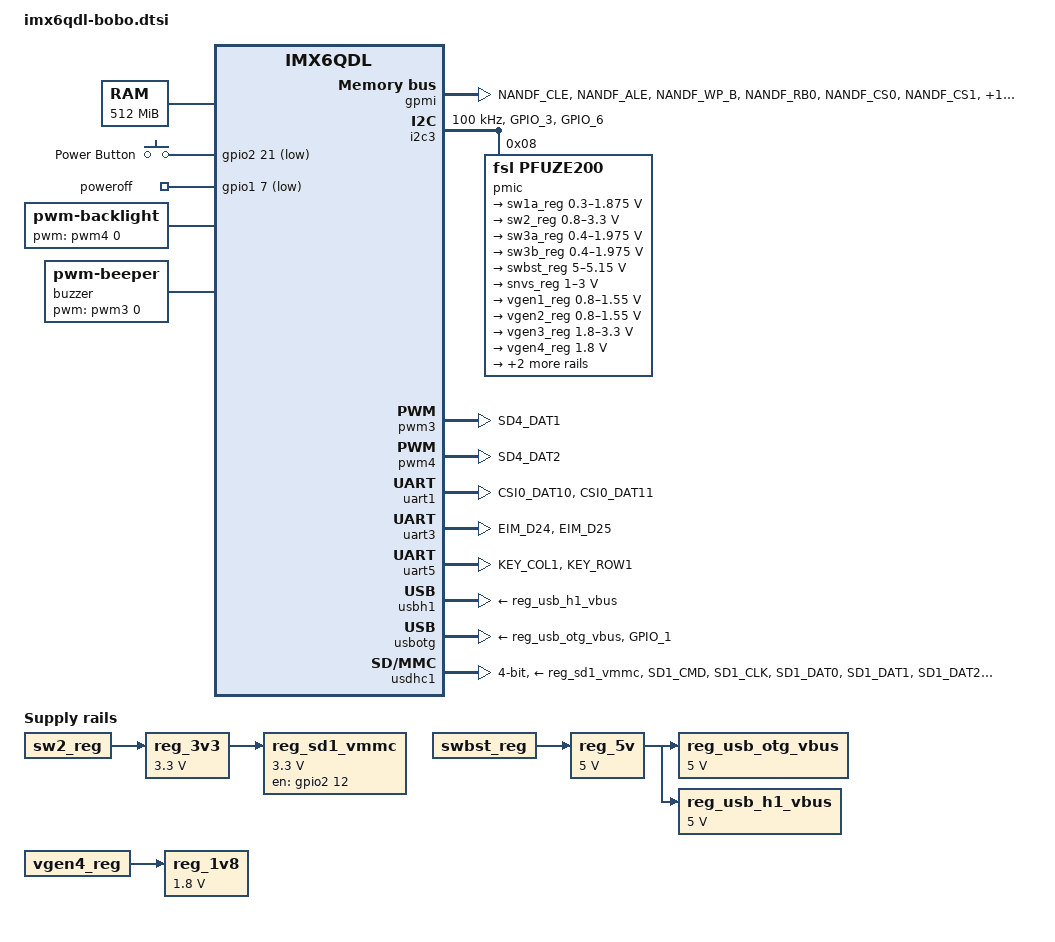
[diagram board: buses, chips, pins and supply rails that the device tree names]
/*

 * Copyright 2012 Freescale Semiconductor, Inc.
 * Copyright 2011 Linaro Ltd.
 *
 * The code contained herein is licensed under the GNU General Public
 * License. You may obtain a copy of the GNU General Public License
 * Version 2 or later at the following locations:
 *
 * http://www.opensource.org/licenses/gpl-license.html
 * http://www.gnu.org/copyleft/gpl.html
 */

#include <dt-bindings/gpio/gpio.h>
#include <dt-bindings/input/input.h>

/ {
	aliases {
		mxcfb0 = &mxcfb1;
		nand = &gpmi;
		serial0 = &uart1;
		serial1 = &uart3;
		serial2 = &uart5;
	};

	chosen {
		stdout-path = "serial2:115200n8";
	};

	memory {
		reg = <0x10000000 0x20000000>;
	};

	reserved-memory {
		#address-cells = <1>;
		#size-cells = <1>;
		ranges;

		linux,cma {
			compatible = "shared-dma-pool";
			reusable;
			size = <0x10000000>;
			linux,cma-default;
		};
	};

	regulators {
		compatible = "simple-bus";
		#address-cells = <1>;
		#size-cells = <0>;

		reg_3v3: regulator@0 {
			compatible = "regulator-fixed";
			reg = <0>;
			regulator-name = "pwr3v3";
			regulator-min-microvolt = <3300000>;
			regulator-max-microvolt = <3300000>;
			vin-supply = <&sw2_reg>;
			regulator-always-on;
		};

		reg_5v: regualtor@1 {
			compatible = "regulator-fixed";
			reg = <1>;
			regulator-name = "pwr5v";
			regulator-min-microvolt = <5000000>;
			regulator-max-microvolt = <5000000>;
			vin-supply = <&swbst_reg>;
			regulator-always-on;
		};

		reg_1v8: regulator@2 {
			compatible = "regulator-fixed";
			reg = <2>;
			regulator-name = "pwr1v8";
			regulator-min-microvolt = <1800000>;
			regulator-max-microvolt = <1800000>;
			vin-supply = <&vgen4_reg>;
			regulator-always-on;
		};

		reg_sd1_vmmc: regulator@3 {
			compatible = "regulator-fixed";
			reg = <3>;
			regulator-name = "SD1_PWR";
			regulator-min-microvolt = <3300000>;
			regulator-max-microvolt = <3300000>;
			gpio = <&gpio2 12 GPIO_ACTIVE_HIGH>;
			enable-active-high;
			vin-supply = <&reg_3v3>;
		};

		reg_usb_otg_vbus: usbotg_vbus {
			compatible = "regulator-fixed";
			reg = <4>;
			regulator-name = "usb_otg_vbus";
			regulator-min-microvolt = <5000000>;
			regulator-max-microvolt = <5000000>;
			vin-supply = <&reg_5v>;
		};

		reg_usb_h1_vbus: usbh1_vbus {
			compatible = "regulator-fixed";
			reg = <5>;
			regulator-name = "usb_h1_vbus";
			regulator-min-microvolt = <5000000>;
			regulator-max-microvolt = <5000000>;
			vin-supply = <&reg_5v>;
		};



	};


	gpio-keys {
		compatible = "gpio-keys";
		pinctrl-names = "default";
		pinctrl-0 = <&pinctrl_gpio_keys>;
		/* PWR_KEY_SENSE */
		power {
			label = "Power Button";
			gpios = <&gpio2 21 GPIO_ACTIVE_LOW>;/* MX6QDL_PAD_EIM_A17__GPIO2_IO21 */
			gpio-key,wakeup;
			linux,code = <KEY_POWER>;
			debounce-interval = <1000>; /* long press 1000 millisecond */
		};
	};

	mxcfb1: fb@0 {
		compatible = "fsl,mxc_sdc_fb";
		disp_dev = "lcd";
		mode_str = "CTP-WVGA";
		interface_pix_fmt = "RGB666";
		default_bpp = <16>;
		int_clk = <0>;
		late_init = <0>;
		status = "disabled";
	};

	lcd: lcd@0 {
		compatible = "fsl,lcd";
		ipu_id = <0>;
		disp_id = <0>;
		default_ifmt = "RGB666";
		pinctrl-names = "default";
		pinctrl-0 = <&pinctrl_disp>;
		status = "disabled";
	};

	poweroff {
		compatible = "gpio-poweroff";
		gpios = <&gpio1 7 GPIO_ACTIVE_LOW>;
	};

	backlight {
		compatible = "pwm-backlight";
		pwms = <&pwm4 0 300000>;
		brightness-levels = <
			 0  1  2  3  4  5  6  7  8  9 
			 10 11 12 13 14 15 16 17 18 19 
			 20 21 22 23 24 25 26 27 28 29 
			 30 31 32 33 24 35 36 37 38 39 
			 40 41 42 43 44 45 46 47 48 49
			 50 51 52 53 54 55 56 57 58 59
			 60 61 62 63 64 65 66 67 68 69 
			 70 71 72 73 74 75 76 77 78 79
			 80 81 82 83 84 85 86 87 88 89 
			 90 91 92 93 94 95 96 97 98 99 
			 100 >;
		default-brightness-level = <34>;
		status = "okay";
	};

	buzzer {
		compatible = "pwm-beeper";
		pwms = <&pwm3 0 10000>;
		status = "okay";
	};
};

&gpc {
	fsl,ldo-bypass = <0>; /* to disable ldo pass mode, u-boot will check it */
};

&gpmi {
	pinctrl-names = "default";
	pinctrl-0 = <&pinctrl_gpmi_nand>;
	status = "okay";
};

&i2c3 {
	clock-frequency = <100000>;
	pinctrl-names = "default";
	pinctrl-0 = <&pinctrl_i2c3>;
	status = "okay";

	pmic: pfuze100@08 {
		compatible = "fsl,pfuze200";
		reg = <0x08>;

		regulators {
			sw1a_reg: sw1ab { /* for cpu */
				regulator-min-microvolt = <300000>;
				regulator-max-microvolt = <1875000>;
				regulator-boot-on;
				regulator-always-on;
				regulator-ramp-delay = <6250>;
			};

			sw2_reg: sw2 { /* for peripherals */
				regulator-min-microvolt = <800000>;
				regulator-max-microvolt = <3300000>;
				regulator-boot-on;
			};

			sw3a_reg: sw3a { /* DDR3 */
				regulator-min-microvolt = <400000>;
				regulator-max-microvolt = <1975000>;
				regulator-boot-on;
				regulator-always-on;
			};

			sw3b_reg: sw3b { /* DDR3 */
				regulator-min-microvolt = <400000>;
				regulator-max-microvolt = <1975000>;
				regulator-boot-on;
				regulator-always-on;
			};

			swbst_reg: swbst { /* GPS, LCD, USB */
				regulator-min-microvolt = <5000000>;
				regulator-max-microvolt = <5150000>;
				regulator-boot-on;
			};

			snvs_reg: vsnvs {
				regulator-min-microvolt = <1000000>;
				regulator-max-microvolt = <3000000>;
				regulator-boot-on;
				regulator-always-on;
			};

			vref_reg: vrefddr {
				regulator-boot-on;
				regulator-always-on;
			};

			vgen1_reg: vgen1 {
				regulator-min-microvolt = <800000>;
				regulator-max-microvolt = <1550000>;
				regulator-boot-on;
			};

			vgen2_reg: vgen2 {
				regulator-min-microvolt = <800000>;
				regulator-max-microvolt = <1550000>;
				regulator-boot-on;
			};

			vgen3_reg: vgen3 {
				regulator-min-microvolt = <1800000>;
				regulator-max-microvolt = <3300000>;
				regulator-boot-on;
			};

			vgen4_reg: vgen4 { /* for WIFI */
				regulator-min-microvolt = <1800000>;
				regulator-max-microvolt = <1800000>;
				regulator-boot-on;
			};

			vgen5_reg: vgen5 {
				regulator-min-microvolt = <1800000>;
				regulator-max-microvolt = <2800000>;
				regulator-boot-on;
			};

			vgen6_reg: vgen6 {
				regulator-min-microvolt = <1800000>;
				regulator-max-microvolt = <3300000>;
				regulator-boot-on;
			};
		};
	};
};


&iomuxc {
	pinctrl-names = "default";
	pinctrl-0 = <&pinctrl_hog>;

	imx6qdl-bobo {
		pinctrl_hog: hoggrp {
			fsl,pins = <
				MX6QDL_PAD_GPIO_0__CCM_CLKO1		0x130b0
				MX6QDL_PAD_EIM_A20__GPIO2_IO18          0x80000000
				MX6QDL_PAD_GPIO_7__GPIO1_IO07           0x0000b /* PWR_HOLD_ON */
			>;
		};

		/* GPMI NAND */	     
		pinctrl_gpmi_nand: gpminandgrp {
			fsl,pins = <
				MX6QDL_PAD_NANDF_CLE__NAND_CLE		0xb0b1
				MX6QDL_PAD_NANDF_ALE__NAND_ALE		0xb0b1
				MX6QDL_PAD_NANDF_WP_B__NAND_WP_B	0xb0b1
				MX6QDL_PAD_NANDF_RB0__NAND_READY_B	0xb000
				MX6QDL_PAD_NANDF_CS0__NAND_CE0_B	0xb0b1
				MX6QDL_PAD_NANDF_CS1__NAND_CE1_B	0xb0b1
				MX6QDL_PAD_SD4_CMD__NAND_RE_B		0xb0b1
				MX6QDL_PAD_SD4_CLK__NAND_WE_B		0xb0b1
				MX6QDL_PAD_NANDF_D0__NAND_DATA00	0xb0b1
				MX6QDL_PAD_NANDF_D1__NAND_DATA01	0xb0b1
				MX6QDL_PAD_NANDF_D2__NAND_DATA02	0xb0b1
				MX6QDL_PAD_NANDF_D3__NAND_DATA03	0xb0b1
				MX6QDL_PAD_NANDF_D4__NAND_DATA04	0xb0b1
				MX6QDL_PAD_NANDF_D5__NAND_DATA05	0xb0b1
				MX6QDL_PAD_NANDF_D6__NAND_DATA06	0xb0b1
				MX6QDL_PAD_NANDF_D7__NAND_DATA07	0xb0b1
			>;
		};

		/* for LCD */
		pinctrl_disp: disp0-grp {
			fsl,pins = <
				MX6QDL_PAD_DI0_DISP_CLK__IPU1_DI0_DISP_CLK 0x10
				MX6QDL_PAD_DI0_PIN15__IPU1_DI0_PIN15       0x10
				MX6QDL_PAD_DI0_PIN2__IPU1_DI0_PIN02        0x10
				MX6QDL_PAD_DI0_PIN3__IPU1_DI0_PIN03        0x10
				MX6QDL_PAD_DI0_PIN4__IPU1_DI0_PIN04        0x10
				MX6QDL_PAD_DISP0_DAT0__IPU1_DISP0_DATA00   0x10
				MX6QDL_PAD_DISP0_DAT1__IPU1_DISP0_DATA01   0x10
				MX6QDL_PAD_DISP0_DAT2__IPU1_DISP0_DATA02   0x10
				MX6QDL_PAD_DISP0_DAT3__IPU1_DISP0_DATA03   0x10
				MX6QDL_PAD_DISP0_DAT4__IPU1_DISP0_DATA04   0x10
				MX6QDL_PAD_DISP0_DAT5__IPU1_DISP0_DATA05   0x10
				MX6QDL_PAD_DISP0_DAT6__IPU1_DISP0_DATA06   0x10
				MX6QDL_PAD_DISP0_DAT7__IPU1_DISP0_DATA07   0x10
				MX6QDL_PAD_DISP0_DAT8__IPU1_DISP0_DATA08   0x10
				MX6QDL_PAD_DISP0_DAT9__IPU1_DISP0_DATA09   0x10
				MX6QDL_PAD_DISP0_DAT10__IPU1_DISP0_DATA10  0x10
				MX6QDL_PAD_DISP0_DAT11__IPU1_DISP0_DATA11  0x10
				MX6QDL_PAD_DISP0_DAT12__IPU1_DISP0_DATA12  0x10
				MX6QDL_PAD_DISP0_DAT13__IPU1_DISP0_DATA13  0x10
				MX6QDL_PAD_DISP0_DAT14__IPU1_DISP0_DATA14  0x10
				MX6QDL_PAD_DISP0_DAT15__IPU1_DISP0_DATA15  0x10
				MX6QDL_PAD_DISP0_DAT16__IPU1_DISP0_DATA16  0x10
				MX6QDL_PAD_DISP0_DAT17__IPU1_DISP0_DATA17  0x10
			>;
		};

		pinctrl_i2c3: i2c3grp {
			fsl,pins = <
				MX6QDL_PAD_GPIO_3__I2C3_SCL	0x4001b8b1
				MX6QDL_PAD_GPIO_6__I2C3_SDA	0x4001b8b1
			>;
		};

		/* for BT I2S audio */
		pinctrl_audmux_bt: audmuxgrp-bt {
			fsl,pins = <
				MX6QDL_PAD_CSI0_DAT7__AUD3_RXD		0x130b0
				MX6QDL_PAD_CSI0_DAT4__AUD3_TXC		0x130b0
				MX6QDL_PAD_CSI0_DAT5__AUD3_TXD		0x110b0
				MX6QDL_PAD_CSI0_DAT6__AUD3_TXFS		0x130b0
			>;
		};

		pinctrl_ecspi1: ecspi1grp {
			fsl,pins = <
				MX6QDL_PAD_EIM_D16__ECSPI1_SCLK		0x100b1
				MX6QDL_PAD_EIM_D17__ECSPI1_MISO		0x100b1
				MX6QDL_PAD_EIM_D18__ECSPI1_MOSI		0x100b1
			>;
		};

		pinctrl_gpio_keys: gpio_keysgrp {
			fsl,pins = <
				MX6QDL_PAD_EIM_D29__GPIO3_IO29		0x80000000
			>;
		};


		/* for backlight */
		pinctrl_pwm1: pwm1grp {
			fsl,pins = <
				MX6QDL_PAD_SD1_DAT3__PWM1_OUT		0x1b0b1
			>;
		};

		pinctrl_uart1: uart1grp {
			fsl,pins = <
				MX6QDL_PAD_CSI0_DAT10__UART1_TX_DATA	0x1b0b1
				MX6QDL_PAD_CSI0_DAT11__UART1_RX_DATA	0x1b0b1
			>;
		};

		pinctrl_uart3: uart3grp {
			fsl,pins = <
				MX6QDL_PAD_EIM_D24__UART3_TX_DATA	0x1b0b1
				MX6QDL_PAD_EIM_D25__UART3_RX_DATA	0x1b0b1
			>;
		};
		/* for debug uart */
		pinctrl_uart5: uart5grp {
			fsl,pins = <
				MX6QDL_PAD_KEY_COL1__UART5_TX_DATA	0x1b0b1
				MX6QDL_PAD_KEY_ROW1__UART5_RX_DATA	0x1b0b1
			>;
		};

		pinctrl_usbotg: usbotggrp {
			fsl,pins = <
				MX6QDL_PAD_GPIO_1__USB_OTG_ID	0x17059
			>;
		};

		/* for SD slot */
		pinctrl_usdhc1: usdhc1grp {
			fsl,pins = <
				MX6QDL_PAD_SD1_CMD__SD1_CMD		0x1b069
				MX6QDL_PAD_SD1_CLK__SD1_CLK		0x10069
				MX6QDL_PAD_SD1_DAT0__SD1_DATA0		0x1b069
				MX6QDL_PAD_SD1_DAT1__SD1_DATA1		0x1b069
				MX6QDL_PAD_SD1_DAT2__SD1_DATA2		0x1b069
				MX6QDL_PAD_SD1_DAT3__SD1_DATA3		0x1b069
				MX6QDL_PAD_SD4_DAT0__GPIO2_IO08		0x10059	/* CD */
				MX6QDL_PAD_SD4_DAT4__GPIO2_IO12		0	/* PWR_EN */
			>;
		};

		/* for buzzer */
		pinctrl_pwm3: pwm3grp {
			fsl,pins = <
				MX6QDL_PAD_SD4_DAT1__PWM3_OUT              0x1b0b1	/* AUDIO_PWM */
			>;
		};

		pinctrl_pwm4: pwm4grp {
			fsl,pins = <
				MX6QDL_PAD_SD4_DAT2__PWM4_OUT		0x1b0b1
			>;
		};

		/* for WL18xx WiFi */
		pinctrl_usdhc2: usdhc2grp {
			fsl,pins = <
				MX6QDL_PAD_SD2_CMD__SD2_CMD		0x17059
				MX6QDL_PAD_SD2_CLK__SD2_CLK		0x10059
				MX6QDL_PAD_SD2_DAT0__SD2_DATA0		0x17059
				MX6QDL_PAD_SD2_DAT1__SD2_DATA1		0x17059
				MX6QDL_PAD_SD2_DAT2__SD2_DATA2		0x17059
				MX6QDL_PAD_SD2_DAT3__SD2_DATA3		0x17059
			>;
		};

		pinctrl_usdhc2_100mhz: usdhc2grp100mhz {
			fsl,pins = <
				MX6QDL_PAD_SD2_CMD__SD2_CMD		0x170b9
				MX6QDL_PAD_SD2_CLK__SD2_CLK		0x100b9
				MX6QDL_PAD_SD2_DAT0__SD2_DATA0		0x170b9
				MX6QDL_PAD_SD2_DAT1__SD2_DATA1		0x170b9
				MX6QDL_PAD_SD2_DAT2__SD2_DATA2		0x170b9
				MX6QDL_PAD_SD2_DAT3__SD2_DATA3		0x170b9
			>;
		};

		pinctrl_usdhc2_200mhz: usdhc2grp200mhz {
			fsl,pins = <
				MX6QDL_PAD_SD2_CMD__SD2_CMD		0x170f9
				MX6QDL_PAD_SD2_CLK__SD2_CLK		0x100f9
				MX6QDL_PAD_SD2_DAT0__SD2_DATA0		0x170f9
				MX6QDL_PAD_SD2_DAT1__SD2_DATA1		0x170f9
				MX6QDL_PAD_SD2_DAT2__SD2_DATA2		0x170f9
				MX6QDL_PAD_SD2_DAT3__SD2_DATA3		0x170f9
			>;
		};
	};
};

/* buzzer */
&pwm3 {
	pinctrl-names = "default";
	pinctrl-0 = <&pinctrl_pwm3>;
	status = "okay";
};

/* backlight */
&pwm4 {
	pinctrl-names = "default";
	pinctrl-0 = <&pinctrl_pwm4>;
	status = "okay";
};

/* for bt audio */
/*
&ssi1 {
	assigned-clocks = <&clks IMX6QDL_CLK_SSI1_SEL>;
	assigned-clock-parents = <&clks IMX6QDL_CLK_PLL4_AUDIO_DIV>;
	assigned-clock-rates = <0>;
	fsl,mode = "i2s-master";
	status = "okay";
	fsl,mode = "i2s-slave";
	status = "okay";
};

&ssi2 {
	fsl,mode = "i2s-slave";
	status = "okay";
};

*/
&uart1 {
	pinctrl-names = "default";
	pinctrl-0 = <&pinctrl_uart1>;
	status = "okay";
};

/* for Bluetooth */
&uart3 {
	pinctrl-names = "default";
	pinctrl-0 = <&pinctrl_uart3>;
	fsl,uart-has-rtscts;
	status = "okay";
};

/* for testing purpose */
&uart5 {
	pinctrl-names = "default";
	pinctrl-0 = <&pinctrl_uart5>;
	status = "okay";
};


&usbh1 {
	vbus-supply = <&reg_usb_h1_vbus>;
	status = "okay";
};

&usbotg {
	vbus-supply = <&reg_usb_otg_vbus>;
	pinctrl-names = "default";
	pinctrl-0 = <&pinctrl_usbotg>;
	disable-over-current;
	srp-disable;
	hnp-disable;
	adp-disable;
	status = "okay";
};

&usdhc1 {
	pintctrl-names = "default";
	pinctrl-0 = <&pinctrl_usdhc1>;
	bus-width = <4>;
	cd-gpios = <&gpio2 8 GPIO_ACTIVE_LOW>;
	keep-power-in-suspend;
	enable-sdio-wakeup;
	vmmc-supply = <&reg_sd1_vmmc>;
	status = "okay";
};
/*
&usdhc2 {
	pinctrl-names = "default";
	pinctrl-0 = <&pinctrl_usdhc2>;
	pinctrl-1 = <&pinctrl_usdhc2_100mhz>;
	pinctrl-2 = <&pinctrl_usdhc2_200mhz>;
	bus-width = <4>;
	wifi-host;
	wifi-power = <&gpio1 4 0>;
	wifi-reset = <&gpio7 12 0>;
	bt-reset = <&gpio4 11 0>;
	non-removable;
	keep-power-in-suspend;
	enable-sdio-wakeup;
	status = "okay";
};
*/

&epdc {
	status = "disabled";
};
